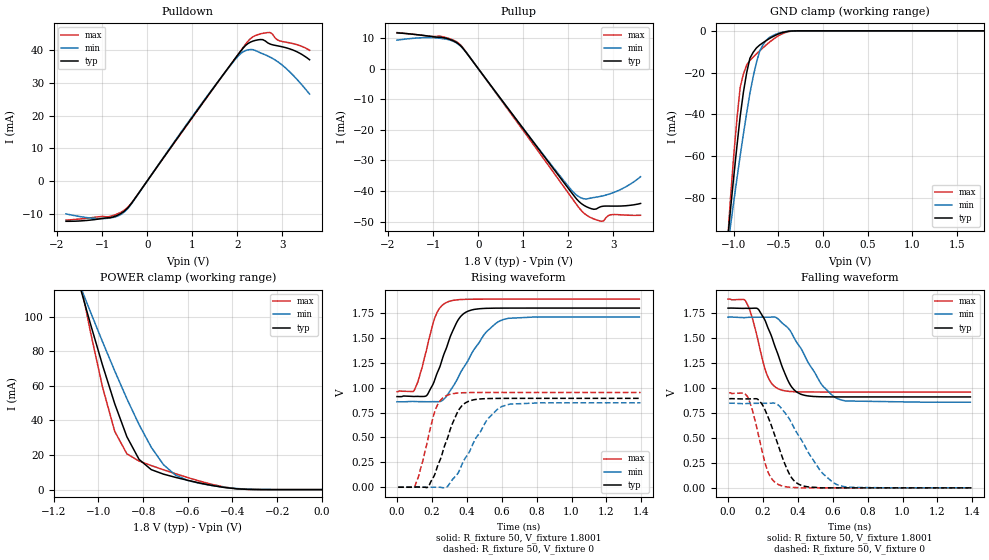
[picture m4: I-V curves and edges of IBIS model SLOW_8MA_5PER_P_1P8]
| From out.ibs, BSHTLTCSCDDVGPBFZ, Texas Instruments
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|   Model Cell SLOW_8MA_5PER_P_1P8
|SLOW_8MA_5PER_P_1P8
[Model]   SLOW_8MA_5PER_P_1P8
Model_type   3-state
Polarity   Non-Inverting
Enable   Active-Low
Cref =  15.0000pF
Rref =  100.0000M
Vref =  0V
Vmeas =  0.90005
C_comp   1.5249p   1.4275p   1.6205p
|[Input load] NA
|[Nom VDDS voltage] 1.8V
|[Output drive] slow
|[supplytol] 5
|[temp] ind
[Model Spec]
[Temperature Range]   25   125   -40
[Voltage Range]   1.8   1.71   1.89
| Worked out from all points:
|   slope of the pulldown table from 0 to 0.27 V, typ, clamps not added: 50.8 ohm
|   slope of the pullup table from 0 to 0.27 V, typ, clamps not added: 50.7 ohm
|   GND clamp passes 1 mA (typ) near -0.47 V on its own axis
|   POWER clamp passes 1 mA (typ) near -0.42 V on its own axis
|   rising waveform, R_fixture 50, V_fixture 1.8001: 20-80 % time 115ps typ, 175ps min, 83.2ps max; typ from 0.911 V to 1.8 V
|   rising waveform, R_fixture 50, V_fixture 0: 20-80 % time 110ps typ, 160ps min, 80.9ps max; typ from 0 V to 0.893 V
|   falling waveform, R_fixture 50, V_fixture 1.8001: 20-80 % time 116ps typ, 172ps min, 82.2ps max; typ from 1.8 V to 0.91 V
|   falling waveform, R_fixture 50, V_fixture 0: 20-80 % time 112ps typ, 175ps min, 80.4ps max; typ from 0.892 V to 0 V
| Nom Voltages:
|   BUS_BIAS2=0, VDD=1, VDDS=1.8001, BIASFET=1.8, BUS_BIAS1=0, BUS_BIAS3=0,
|   VSS=0, VSSS=0
| Min Voltages:
|   BUS_BIAS2=0, VDD=0.9, VDDS=1.71, BIASFET=1.71, BUS_BIAS1=0, BUS_BIAS3=0,
|   VSS=0, VSSS=0
| Max Voltages:
|   BUS_BIAS2=0, VDD=1.1, VDDS=1.89, BIASFET=1.89, BUS_BIAS1=0, BUS_BIAS3=0,
|   VSS=0, VSSS=0
[POWER_clamp]
|   voltage   I(typ)   I(min)   I(max)
-1.8V     474mA      366.5mA    636mA
-1.073V   112.8mA    114.8mA    115mA
-1.055V   104.4mA    108.9mA    103.2mA
-981.9mV  72.02mA    85.56mA    59.34mA
-927.3mV  49.71mA    68.7mA     33.74mA
-872.8mV  30.58mA    52.57mA    20.7mA
-818.2mV  17.49mA    37.63mA    16.52mA
-763.7mV  11.55mA    24.52mA    13.91mA
-709.1mV  8.963mA    14.45mA    11.5mA
-654.6mV  7.076mA    8.323mA    9.177mA
-381.8mV  457.3uA    634.3uA    491.7uA
0V        1.951nA    28.29nA    672.4pA
[Pulldown]
|   voltage   I(typ)   I(min)   I(max)
-1.8V     -12.34mA   -10.08mA   -11.99mA
-981.9mV  -11.44mA   -11.52mA   -10.86mA
-709.1mV  -10.79mA   -11.02mA   -10.34mA
-490.9mV  -9.038mA   -9.294mA   -8.776mA
1.364V    26.46mA    26.62mA    26.34mA
2.127V    40.67mA    39.54mA    40.86mA
2.291V    42.52mA    40.24mA    43.59mA
2.455V    43.2mA     39.56mA    44.81mA
2.727V    41.9mA     37.91mA    45.43mA
2.891V    41.37mA    36.55mA    43.16mA
3.273V    39.85mA    31.82mA    41.91mA
3.6V      37.11mA    26.6mA     40.01mA
[Pullup]
|   voltage   I(typ)   I(min)   I(max)
-1.8V     11.65mA    9.31mA     11.77mA
-872.8mV  10.21mA    9.945mA    10.62mA
-600mV    9.363mA    9.196mA    9.585mA
-381.8mV  7.343mA    7.237mA    7.579mA
1.691V    -33.17mA   -32.79mA   -34.37mA
2.073V    -40.61mA   -39.8mA    -42.22mA
2.236V    -43.49mA   -41.92mA   -45.54mA
2.4V      -45.16mA   -42.63mA   -47.9mA
2.564V    -46mA      -42.15mA   -49.15mA
2.727V    -45.09mA   -41.72mA   -49.92mA
2.946V    -44.96mA   -40.82mA   -47.76mA
3.6V      -44.09mA   -35.36mA   -47.95mA
[GND_clamp]
|   voltage   I(typ)   I(min)   I(max)
-1.8V     -462.4mA   -356.3mA   -622.3mA
-1.073V   -102.2mA   -105.2mA   -103.4mA
-1.036V   -85.75mA   -93.44mA   -80.45mA
-1V       -70.08mA   -81.98mA   -59.92mA
-927.3mV  -40.88mA   -59.68mA   -27.04mA
-891mV    -29.31mA   -49.26mA   -20.65mA
-818.2mV  -13.08mA   -29.85mA   -14.19mA
-745.5mV  -8.188mA   -15.22mA   -11.06mA
-709.1mV  -6.803mA   -9.688mA   -9.574mA
-600mV    -3.696mA   -3.146mA   -5.458mA
-309.1mV  -26.69uA   -37.55uA   -46.75uA
1.8V      1.951nA    405.7nA    457.6pA
[Ramp]
| variable   typ   min   max
dV/dt_f   0.712024/0.16831815n   0.681992/0.25946144n   0.744576/0.12614702n
dV/dt_r 0.71771568/0.16136622n 0.68351832/0.24453807n 0.76265245/0.12182199n
R_load = 50
[Rising Waveform]
R_fixture = 50
V_fixture = 1.8001
V_fixture_min = 1.71
V_fixture_max = 1.89
|   time   V(typ)   V(min)   V(max)
0s        910.9mV    859.1mV    960.2mV
97.09ps   912.2mV    861.8mV    968.7mV
121.6ps   912.8mV    860.2mV    1.069V
170.9ps   923.5mV    859.1mV    1.393V
226.9ps   1.132V     859.5mV    1.746V
297.8ps   1.476V     951.8mV    1.867V
383.1ps   1.746V     1.207V     1.887V
502.4ps   1.797V     1.541V     1.89V
588.2ps   1.8V       1.67V      1.89V
1.389ns   1.8V       1.71V      1.89V
[Rising Waveform]
R_fixture = 50
V_fixture = 0
V_fixture_min = 0
V_fixture_max = 0
|   time   V(typ)   V(min)   V(max)
6.81ps    0V         0V         0V
102.3ps   0V         3.038mV    11.88mV
181.3ps   10.7mV     0V         521mV
225.8ps   177.6mV    0V         804mV
285.5ps   474.3mV    2.669mV    922.4mV
341.8ps   736mV      122.6mV    945.2mV
381.8ps   834.4mV    264.1mV    949.6mV
510.8ps   890.4mV    663.5mV    952.2mV
600.2ps   892.8mV    811.5mV    952.3mV
1.396ns   893.3mV    848.3mV    952.4mV
[Falling Waveform]
R_fixture = 50
V_fixture = 1.8001
V_fixture_min = 1.71
V_fixture_max = 1.89
|   time   V(typ)   V(min)   V(max)
0s        1.799V     1.71V      1.889V
103.5ps   1.798V     1.706V     1.862V
178.2ps   1.777V     1.709V     1.426V
230.2ps   1.596V     1.708V     1.105V
288.9ps   1.323V     1.689V     990.5mV
343.3ps   1.076V     1.602V     967.2mV
392.9ps   960.3mV    1.459V     961.7mV
537.9ps   911.8mV    1.031V     959.6mV
627.6ps   910.5mV    892.9mV    959.5mV
1.389ns   910.2mV    858.1mV    959.4mV
[Falling Waveform]
R_fixture = 50
V_fixture = 0
V_fixture_min = 0
V_fixture_max = 0
|   time   V(typ)   V(min)   V(max)
6.81ps    892.4mV    847.8mV    951.9mV
114.9ps   890.5mV    845.3mV    903.9mV
171.2ps   885.3mV    846.6mV    553.8mV
222.2ps   739.2mV    846.5mV    192.1mV
290ps     413.6mV    825.2mV    31.57mV
350.5ps   142.6mV    693mV      6.664mV
397.6ps   44.3mV     542.3mV    2.225mV
530.6ps   0V         169.1mV    0V
622.6ps   0V         33.66mV    0V
1.396ns   0V         0V         0V
